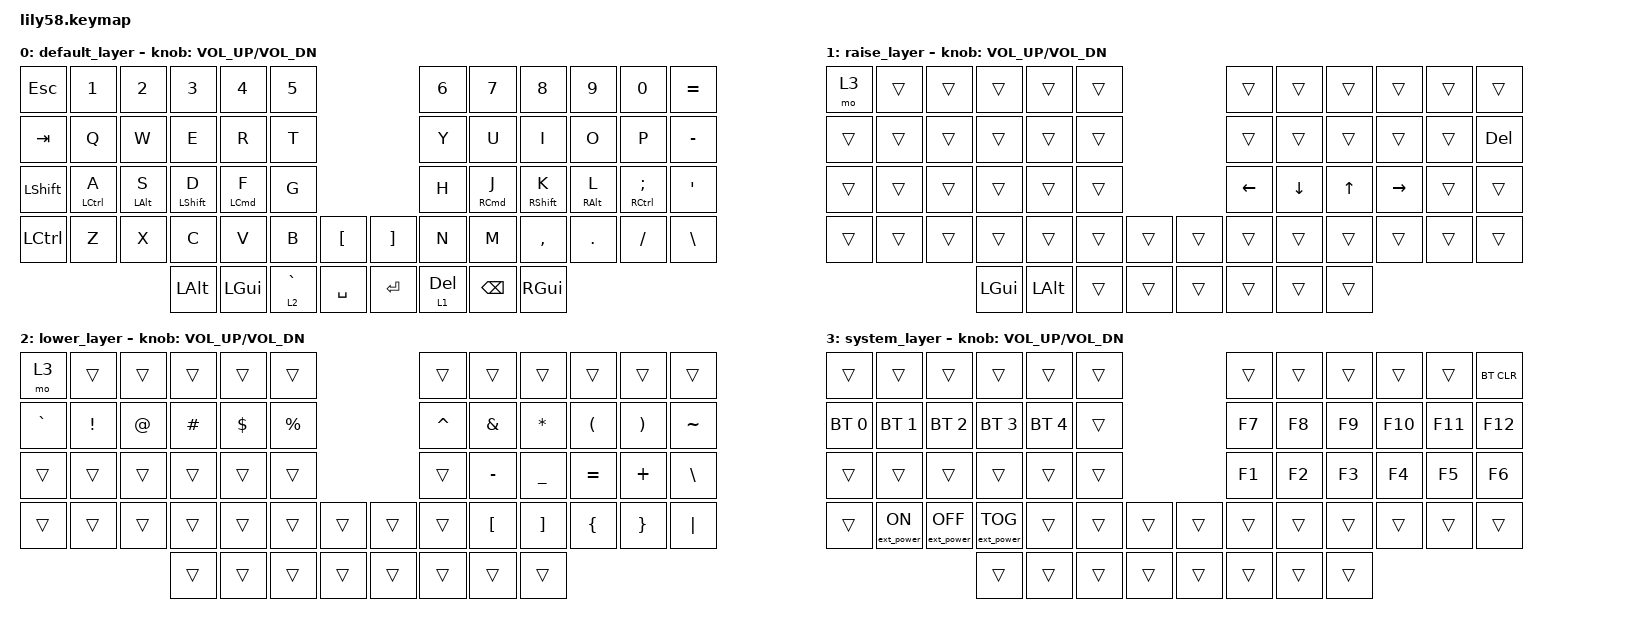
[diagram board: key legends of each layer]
/*
 * Copyright (c) 2020 The ZMK Contributors
 *
 * SPDX-License-Identifier: MIT
 */

#include <behaviors.dtsi>
#include <dt-bindings/zmk/bt.h>
#include <dt-bindings/zmk/ext_power.h>
#include <dt-bindings/zmk/keys.h>

/ {
    combos {
        compatible = "zmk,combos";

        combo_esc {
            timeout-ms = <50>;
            key-positions = <0 1>;
            bindings = <&kp ESC>;
        };
    };

    behaviors {
        ss_hs_modmorph: ss_hs_modmorph {
            compatible = "zmk,behavior-mod-morph";
            label = "SS_HS_MODMORPH";
            bindings = <&kp M>, <&kp RIGHT_BRACKET>;

            #binding-cells = <0>;
            mods = <(MOD_LSFT|MOD_RSFT)>;
        };

        kh_hs_tapdance: kh_hs_tapdance {
            compatible = "zmk,behavior-tap-dance";
            label = "KH_HS_TAPDANCE";
            #binding-cells = <0>;
            tapping-term-ms = <200>;
            bindings = <&kp LEFT_BRACKET>, <&kp RIGHT_BRACKET>;
        };

        hrm: hrm {
            compatible = "zmk,behavior-hold-tap";
            #binding-cells = <2>;
            flavor = "balanced";
            tapping-term-ms = <170>;
            quick-tap-ms = <150>;
            require-prior-idle-ms = <150>;
            bindings = <&kp>, <&kp>;
        };
    };

    keymap {
        compatible = "zmk,keymap";

        default_layer {
            // ------------------------------------------------------------------------------------------------------------
            // |  ESC  |  1  |  2  |  3   |  4   |  5   |                   |  6   |  7    |  8    |  9   |   0   |   `   |
            // |  TAB  |  Q  |  W  |  E   |  R   |  T   |                   |  Y   |  U    |  I    |  O   |   P   |   -   |
            // |  CTRL |  A  |  S  |  D   |  F   |  G   |                   |  H   |  J    |  K    |  L   |   ;   |   '   |
            // | SHIFT |  Z  |  X  |  C   |  V   |  B   |   "["  |  |  "]"  |  N   |  M    |  ,    |  .   |   /   | SHIFT |
            //                     | ALT  | GUI  | LOWER|  SPACE |  | ENTER | RAISE| BSPC  | GUI   |

            bindings = <
&kp ESC           &kp N1               &kp N2           &kp N3             &kp N4               &kp N5                              &kp N6        &kp N7                &kp N8              &kp N9            &kp N0                   &kp EQUAL
&kp TAB           &kp Q                &kp W            &kp E              &kp R                &kp T                               &kp Y         &kp U                 &kp I               &kp O             &kp P                    &kp MINUS
&kp LEFT_SHIFT    &hrm LEFT_CONTROL A  &hrm LEFT_ALT S  &hrm LEFT_SHIFT D  &hrm LEFT_COMMAND F  &kp G                               &kp H         &hrm RIGHT_COMMAND J  &hrm RIGHT_SHIFT K  &hrm RIGHT_ALT L  &hrm RIGHT_CONTROL SEMI  &kp SQT
&kp LEFT_CONTROL  &kp Z                &kp X            &kp C              &kp V                &kp B        &kp LBKT     &kp RBKT  &kp N         &kp M                 &kp COMMA           &kp DOT           &kp FSLH                 &kp BACKSLASH
                                                        &kp LALT           &kp LGUI             &lt 2 GRAVE  &kp SPACE    &kp RET   &lt 1 DELETE  &kp BSPC              &kp RGUI
            >;

            sensor-bindings = <&inc_dec_kp C_VOL_UP C_VOL_DN>;
        };

        raise_layer {
            // ------------------------------------------------------------------------------------------------------------
            // |       |     |     |      |      |      |                   |      |       |       |      |        |        |
            // |       |     |     |      |      |      |                   |      | Cmd<- | Opt<- | Opt->| Cmd->  |  Del   |
            // |       |     |     |      |      |      |                   |      |   <-  |   v   |  ^   |   ->   |        |
            // |       |     |     |      |      |      |        |  |       |      |       |       |      |        |        |
            //                     |      |      |      |        |  |       |      |       |       |

            bindings = <
&mo 3   &trans  &trans  &trans        &trans        &trans                    &trans          &trans          &trans        &trans     &trans  &trans
&trans  &trans  &trans  &trans        &trans        &trans                    &trans          &trans          &trans        &trans     &trans  &kp DELETE
&trans  &trans  &trans  &trans        &trans        &trans                    &kp LEFT_ARROW  &kp DOWN_ARROW  &kp UP_ARROW  &kp RIGHT  &trans  &trans
&trans  &trans  &trans  &trans        &trans        &trans  &trans    &trans  &trans          &trans          &trans        &trans     &trans  &trans
                        &kp LEFT_GUI  &kp LEFT_ALT  &trans  &trans    &trans  &trans          &trans          &trans
            >;

            sensor-bindings = <&inc_dec_kp C_VOL_UP C_VOL_DN>;
        };

        lower_layer {
            // ------------------------------------------------------------------------------------------------------------
            // |       |     |     |      |      |      |                   |      |       |       |      |       |       |
            // |   `   |  !  |  @  |  #   |  $   |  %   |                   |  ^   |  &    |  *    |  (   |   )   |   ~   |
            // |       |     |     |      |      |      |                   |      |   -   |   _   |   =  |   +   |   \   |
            // |       |     |     |      |      |      |        |  |       |      |   [   |   ]   |  {   |   }   |   |   |
            //                     |      |      |      |        |  |       |      |       |       |

            bindings = <
&mo 3      &trans    &trans       &trans    &trans      &trans                       &trans     &trans     &trans     &trans     &trans    &trans
&kp GRAVE  &kp EXCL  &kp AT_SIGN  &kp HASH  &kp DOLLAR  &kp PRCNT                    &kp CARET  &kp AMPS   &kp ASTRK  &kp LPAR   &kp RPAR  &kp TILDE
&trans     &trans    &trans       &trans    &trans      &trans                       &trans     &kp MINUS  &kp UNDER  &kp EQUAL  &kp PLUS  &kp BSLH
&trans     &trans    &trans       &trans    &trans      &trans     &trans    &trans  &trans     &kp LBKT   &kp RBKT   &kp LBRC   &kp RBRC  &kp PIPE
                                  &trans    &trans      &trans     &trans    &trans  &trans     &trans     &trans
            >;

            sensor-bindings = <&inc_dec_kp C_VOL_UP C_VOL_DN>;
        };

        system_layer {
            // ------------------------------------------------------------------------------------------------------------
            // | SYS   |      |      |      |      |      |                   |      |      |      |      |      | BTCLR  |
            // | BT1   | BT2  | BT3  | BT4  | BT5  |      |                   |  F7  |  F8  |  F9  | F10  | F11  | F12    |
            // |       |      |      |      |      |      |                   |  F1  |  F2  |  F3  |  F4  |  F5  | F6     |
            // |       | ON   | OFF  | TOG  |      |      |        |  |       |      |      |      |      |      |        |
            //                     |      |      |      |        |  |       |      |      |      |

            bindings = <
&trans        &trans            &trans             &trans             &trans        &trans                    &trans  &trans  &trans  &trans   &trans   &bt BT_CLR
&bt BT_SEL 0  &bt BT_SEL 1      &bt BT_SEL 2       &bt BT_SEL 3       &bt BT_SEL 4  &trans                    &kp F7  &kp F8  &kp F9  &kp F10  &kp F11  &kp F12
&trans        &trans            &trans             &trans             &trans        &trans                    &kp F1  &kp F2  &kp F3  &kp F4   &kp F5   &kp F6
&trans        &ext_power EP_ON  &ext_power EP_OFF  &ext_power EP_TOG  &trans        &trans  &trans    &trans  &trans  &trans  &trans  &trans   &trans   &trans
                                                   &trans             &trans        &trans  &trans    &trans  &trans  &trans  &trans
            >;

            sensor-bindings = <&inc_dec_kp C_VOL_UP C_VOL_DN>;
        };
    };
};
